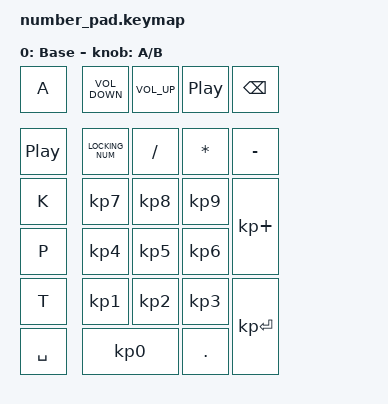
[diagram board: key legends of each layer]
#include <behaviors.dtsi>
#include <dt-bindings/zmk/bt.h>
#include <dt-bindings/zmk/keys.h>

/ {
    combos {
        compatible = "zmk,combos";

        bluetooth_cycle {
            bindings = <&bt BT_CLR_ALL>;
            key-positions = <3 1>;
        };
    };

    keymap {
        compatible = "zmk,keymap";

        default_layer {
            display-name = "Base";
            bindings = <
  &kp A             &kp C_VOLUME_DOWN  &kp C_VOLUME_UP  &kp C_PLAY_PAUSE  &kp BACKSPACE
  &kp C_PLAY_PAUSE  &kp LOCKING_NUM    &kp SLASH        &kp ASTERISK      &kp MINUS
  &kp K             &kp KP_NUMBER_7    &kp KP_NUMBER_8  &kp KP_NUMBER_9   &kp KP_PLUS
  &kp P             &kp KP_NUMBER_4    &kp KP_NUMBER_5  &kp KP_NUMBER_6
  &kp T             &kp KP_NUMBER_1    &kp KP_NUMBER_2  &kp KP_NUMBER_3   &kp KP_ENTER
  &kp SPACE         &kp KP_NUMBER_0    &kp PERIOD
            >;

            sensor-bindings = <&inc_dec_kp A B>;
        };
    };
};
